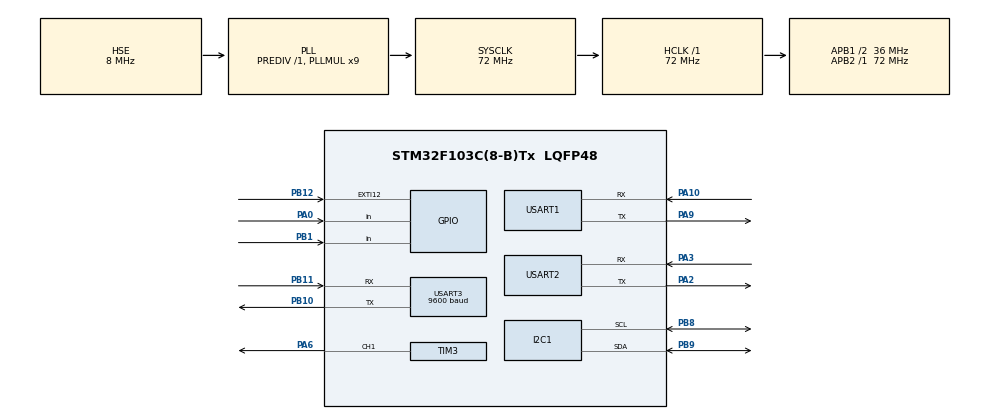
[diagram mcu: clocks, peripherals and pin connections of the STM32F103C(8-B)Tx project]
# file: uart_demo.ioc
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Mcu.Family=STM32F1
Mcu.Name=STM32F103C(8-B)Tx
Mcu.Package=LQFP48
NVIC.EXTI15_10_IRQn=true\:0\:0\:false\:false\:true\:true\:true\:true
NVIC.PriorityGroup=NVIC_PRIORITYGROUP_4
NVIC.TIM2_IRQn=true\:0\:0\:false\:false\:true\:true\:true\:true
NVIC.TIM3_IRQn=true\:0\:0\:false\:false\:true\:true\:true\:true
NVIC.TIM4_IRQn=true\:0\:0\:false\:false\:true\:true\:true\:true
NVIC.USART1_IRQn=true\:0\:0\:false\:false\:true\:true\:true\:true
NVIC.USART2_IRQn=true\:0\:0\:true\:false\:true\:true\:true\:true
PA0-WKUP.GPIO_PuPd=GPIO_PULLUP
PA0-WKUP.Signal=GPIO_Input
PA10.Mode=Asynchronous
PA10.Signal=USART1_RX
PA13.Mode=Serial_Wire
PA13.Signal=SYS_JTMS-SWDIO
PA14.Mode=Serial_Wire
PA14.Signal=SYS_JTCK-SWCLK
PA2.Mode=Asynchronous
PA2.Signal=USART2_TX
PA3.Mode=Asynchronous
PA3.Signal=USART2_RX
PA6.Signal=S_TIM3_CH1
PA9.Mode=Asynchronous
PA9.Signal=USART1_TX
PB1.GPIO_PuPd=GPIO_PULLUP
PB1.Signal=GPIO_Input
PB10.Mode=Asynchronous
PB10.Signal=USART3_TX
PB11.Mode=Asynchronous
PB11.Signal=USART3_RX
PB12.GPIO_ModeDefaultEXTI=GPIO_MODE_IT_RISING
PB12.GPIO_PuPd=GPIO_PULLDOWN
PB12.Signal=GPXTI12
PB8.Mode=I2C
PB8.Signal=I2C1_SCL
PB9.Mode=I2C
PB9.Signal=I2C1_SDA
PD0-OSC_IN.Mode=HSE-External-Oscillator
PD0-OSC_IN.Signal=RCC_OSC_IN
PD1-OSC_OUT.Mode=HSE-External-Oscillator
PD1-OSC_OUT.Signal=RCC_OSC_OUT
ProjectManager.HeapSize=0x200
ProjectManager.StackSize=0x400
ProjectManager.TargetToolchain=MDK-ARM V5.32
RCC.AHBFreq_Value=72000000
RCC.APB1CLKDivider=RCC_HCLK_DIV2
RCC.APB1Freq_Value=36000000
RCC.APB1TimFreq_Value=72000000
RCC.APB2Freq_Value=72000000
RCC.APB2TimFreq_Value=72000000
RCC.HCLKFreq_Value=72000000
RCC.PLLMUL=RCC_PLL_MUL9
RCC.PLLSourceVirtual=RCC_PLLSOURCE_HSE
RCC.SYSCLKFreq_VALUE=72000000
RCC.SYSCLKSource=RCC_SYSCLKSOURCE_PLLCLK
RCC.USBFreq_Value=72000000
SH.S_TIM3_CH1.0=TIM3_CH1,PWM Generation1 CH1
TIM2.AutoReloadPreload=TIM_AUTORELOAD_PRELOAD_DISABLE
TIM2.Period=10 - 1 
TIM2.Prescaler=7200 - 1
TIM3.Channel-PWM\ Generation1\ CH1=TIM_CHANNEL_1
TIM3.Period=20000 - 1
TIM3.Prescaler=72 - 1
TIM4.Prescaler=7200 - 1
USART1.VirtualMode=VM_ASYNC
USART2.VirtualMode=VM_ASYNC
USART3.BaudRate=9600
USART3.VirtualMode=VM_ASYNC
VP_TIM2_VS_ClockSourceINT.Mode=Internal
VP_TIM3_VS_ClockSourceINT.Mode=Internal
VP_TIM4_VS_ClockSourceINT.Mode=Internal
board=custom

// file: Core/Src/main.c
/* USER CODE BEGIN Header */
/**
  ******************************************************************************
  * @file           : main.c
  * @brief          : Main program body
  ******************************************************************************
  * @attention
  *
  * Copyright (c) 2026 STMicroelectronics.
  * All rights reserved.
  *
  * This software is licensed under terms that can be found in the LICENSE file
  * in the root directory of this software component.
  * If no LICENSE file comes with this software, it is provided AS-IS.
  *
  ******************************************************************************
  */
/* USER CODE END Header */
#include "main.h"
#include "i2c.h"
#include "tim.h"
#include "usart.h"
#include "gpio.h"

/* USER CODE BEGIN Includes */
#include <stdio.h>
#include "maix_link.h"
#include "gate.h"
#include "sensor.h"
#include "fsm.h"
#include "parking_db.h"
#include "billing.h"
#include "ssd1306.h"
#include "ui.h"
#include "btn.h"
#include "parking_cloud.h"
/* USER CODE END Includes */

/* USER CODE BEGIN PTD */
volatile uint32_t g_ms = 0; // 1ms的状态机
volatile uint8_t sec_tick = 0; // 1s tick
volatile uint8_t lane_hint = 0; // 0=IN, 1=OUT（由对射触发决定下一次车牌属于哪边）
volatile uint32_t lane_hint_t = 0;
static uint32_t ui_t0 = 0;
/* USER CODE END PTD */

/* USER CODE BEGIN PD */
#define debug 0

maix_plate_event_t e;
gate_cfg_t gate_cfg = {
  .pwm_us_open  = 2000,
  .pwm_us_close = 1000,
  .move_time_ms = 800,
  .invert       = 0
};
sensor_cfg_t scfg = {
  .debounce_ms = 30
};
sensor_event_t ein, eout;
billing_cfg_t bc = {
  .free_s = 0*60,
  .unit_s = 30*60,
  .unit_fee_cents = 100
};
ocr_ctrl_t g_ocr = {
  .in.pending = 0,
  .in.expected_t0 = 0,
  .in.last_req_ms = 0,
  .out.pending = 0,
  .out.expected_t0 = 0,
  .out.last_req_ms = 0,
  .in_latch      = 0,
  .out_latch     = 0,
  .req_timeout_ms = 15000,
  .retry_interval_ms = 4500,  // 建议略大于相机 ARM_WINDOW 4000
};
/* USER CODE END PD */

/* USER CODE BEGIN PM */
uint8_t uart1_rx_byte;
uint8_t uart3_rx_byte;
/* USER CODE END PM */

void SystemClock_Config(void);

/* USER CODE BEGIN 0 */
void debug_printf_time(void)
{
  static uint32_t last = 0;
  if (g_ms - last >= 1000)
  {
      last = g_ms;
      printf("g_ms=%d\r\n", (unsigned long)g_ms);
  }
}

void ui_proc(void)
{
  if (g_ms - ui_t0 >= 200)
  {
      ui_t0 = g_ms;
      ui_tick(g_ms);
  }
}

void sensor(void)
{
  sensor_get_event(SENSOR_IN, &ein);
  if (ein.rising)
  {
    fsm_on_ir_in_blocked(1);
    lane_hint = 0;
    lane_hint_t = g_ms;
  }
  if (ein.falling)
  {
    fsm_on_ir_in_blocked(0);
  }

  sensor_get_event(SENSOR_OUT, &eout);
  if (eout.rising)
  {
    fsm_on_ir_out_blocked(1);
    lane_hint = 1;
    lane_hint_t = g_ms;
  }
  if (eout.falling)
  {
    fsm_on_ir_out_blocked(0);
  }

  // ==== 入口 clear->blocked：触发一次 IN OCR 请求 ====
  if (ein.rising && g_ocr.in_latch == 0)
  {
    g_ocr.in_latch = 1;
    // 只启动IN槽（不影响OUT槽）
    g_ocr.in.pending = 1;
    g_ocr.in.expected_t0 = g_ms;
    maix_link_send_req_ocr(0);
    g_ocr.in.last_req_ms = g_ms;
    g_ocr.in_pending = 1;
    printf("[OCR] REQ IN\r\n");
  }
  if (ein.falling)
  {
    g_ocr.in_latch = 0;
    g_ocr.in_pending = 0;
  }
  // ==== 出口 clear->blocked：触发一次 OUT OCR 请求 ====
  if (eout.rising && g_ocr.out_latch == 0)
  {
    g_ocr.out_latch = 1;
    g_ocr.out.pending  = EXP_OUT;
    g_ocr.out.expected_t0 = g_ms;
    maix_link_send_req_ocr(1); // 1=OUT
    g_ocr.out.last_req_ms = g_ms;
    g_ocr.out_pending = 1;
    printf("[OCR] REQ OUT\r\n");
  }
  if (eout.falling)
  {
    g_ocr.out_latch = 0;
    g_ocr.out_pending = 0;
  }

  // ==== blocked期间“超时重试”：还没拿到结果，就每隔 OCR_RETRY_MS 再发一次 ====
  if (g_ocr.in_latch && g_ocr.in.pending && (g_ms - g_ocr.in.last_req_ms >= g_ocr.retry_interval_ms))
    {
      maix_link_send_req_ocr(0);
      g_ocr.in.last_req_ms = g_ms;
      printf("[OCR] REQ IN (retry)\r\n");
    }

    if (g_ocr.out_latch && g_ocr.out.pending && (g_ms - g_ocr.out.last_req_ms >= g_ocr.retry_interval_ms))
    {
      maix_link_send_req_ocr(1);
      g_ocr.out.last_req_ms = g_ms;
      printf("[OCR] REQ OUT (retry)\r\n");
    }

  // 超时：请求发出后太久没结果，清空 expected_lane
  if (g_ocr.in.pending && (g_ms - g_ocr.in.expected_t0 > g_ocr.req_timeout_ms))
  {
    printf("[OCR] IN timeout\r\n");
    g_ocr.in.pending = 0;
  }

  if (g_ocr.out.pending && (g_ms - g_ocr.out.expected_t0 > g_ocr.req_timeout_ms))
  {
    printf("[OCR] OUT timeout\r\n");
    g_ocr.out.pending = 0;
  }
}

/* USER CODE END 0 */

int main(void)
{

  /* MCU Configuration--------------------------------------------------------*/

  /* Reset of all peripherals, Initializes the Flash interface and the Systick. */
  HAL_Init();

  /* Configure the system clock */
  SystemClock_Config();

  /* Initialize all configured peripherals */
  MX_GPIO_Init();
  MX_USART1_UART_Init();
  MX_TIM2_Init();
  MX_TIM3_Init();
  MX_TIM4_Init();
  MX_USART2_UART_Init();
  MX_I2C1_Init();
  MX_USART3_UART_Init();
  /* USER CODE BEGIN 2 */

  HAL_TIM_PWM_Start(&htim3, TIM_CHANNEL_1);
  HAL_UART_Receive_IT(&huart1, &uart1_rx_byte, 1);
  HAL_UART_Receive_IT(&huart3, &uart3_rx_byte, 1);

  ui_init();
  ssd1306_fill(0);
  // ssd1306_draw_str(0, 0, "HELLO");
  // ssd1306_draw_str(0, 0, "0");
  // ssd1306_draw_str(0, 16, "I2C OK 0x3C");
  // ssd1306_update();
  maix_link_init(&g_ms);
  gate_init(&g_ms, &gate_cfg);
  sensor_init(&g_ms, &scfg);
  db_init();
  billing_set_cfg(&bc);
  fsm_init(&g_ms);
  parking_cloud_init(&g_ms);

  HAL_TIM_Base_Start_IT(&htim2);
  HAL_TIM_Base_Start_IT(&htim4);

  printf("init ok \r\n");
  /* USER CODE END 2 */

  /* Infinite loop */
  while (1)
  {

    /* USER CODE BEGIN 3 */
    maix_link_poll();
    sensor_poll();
    sensor();
    btn_poll();
    if (maix_link_get_plate(&e))
    {
      if (e.lane == 0)  // IN
      {
        if (g_ocr.in.pending)
        {
          fsm_on_plate(e.plate, e.conf, LANE_IN);
          g_ocr.in.pending = 0;
        }
        else
        {
          printf("[OCR] got IN but not pending, drop %s\r\n", e.plate);
        }
      }
      else if (e.lane == 1) // OUT
      {
        if (g_ocr.out.pending)
        {
          fsm_on_plate(e.plate, e.conf, LANE_OUT);
          g_ocr.out.pending = 0;
        }
        else
        {
          printf("[OCR] got OUT but not pending, drop %s\r\n", e.plate);
        }
      }
    }

    fsm_step();
    parking_cloud_poll();
    ui_proc();

    #if debug
    debug_printf_time();
    #endif
  }
  /* USER CODE END 3 */
}

void SystemClock_Config(void)
{
  RCC_OscInitTypeDef RCC_OscInitStruct = {0};
  RCC_ClkInitTypeDef RCC_ClkInitStruct = {0};

  /** Initializes the RCC Oscillators according to the specified parameters
  * in the RCC_OscInitTypeDef structure.
  */
  RCC_OscInitStruct.OscillatorType = RCC_OSCILLATORTYPE_HSE;
  RCC_OscInitStruct.HSEState = RCC_HSE_ON;
  RCC_OscInitStruct.HSEPredivValue = RCC_HSE_PREDIV_DIV1;
  RCC_OscInitStruct.HSIState = RCC_HSI_ON;
  RCC_OscInitStruct.PLL.PLLState = RCC_PLL_ON;
  RCC_OscInitStruct.PLL.PLLSource = RCC_PLLSOURCE_HSE;
  RCC_OscInitStruct.PLL.PLLMUL = RCC_PLL_MUL9;
  if (HAL_RCC_OscConfig(&RCC_OscInitStruct) != HAL_OK)
  {
    Error_Handler();
  }

  /** Initializes the CPU, AHB and APB buses clocks
  */
  RCC_ClkInitStruct.ClockType = RCC_CLOCKTYPE_HCLK|RCC_CLOCKTYPE_SYSCLK
                              |RCC_CLOCKTYPE_PCLK1|RCC_CLOCKTYPE_PCLK2;
  RCC_ClkInitStruct.SYSCLKSource = RCC_SYSCLKSOURCE_PLLCLK;
  RCC_ClkInitStruct.AHBCLKDivider = RCC_SYSCLK_DIV1;
  RCC_ClkInitStruct.APB1CLKDivider = RCC_HCLK_DIV2;
  RCC_ClkInitStruct.APB2CLKDivider = RCC_HCLK_DIV1;

  if (HAL_RCC_ClockConfig(&RCC_ClkInitStruct, FLASH_LATENCY_2) != HAL_OK)
  {
    Error_Handler();
  }
}

/* USER CODE BEGIN 4 */
// 串口回调
void HAL_UART_RxCpltCallback(UART_HandleTypeDef *huart)
{
    if (huart->Instance == USART1)
    {
      maix_link_on_rx_byte(uart1_rx_byte);
      HAL_UART_Receive_IT(&huart1, &uart1_rx_byte, 1);
    }
    else if (huart->Instance == USART3)
    {
      parking_cloud_on_rx_byte(uart3_rx_byte);
      HAL_UART_Receive_IT(&huart3, &uart3_rx_byte, 1);
    }
}
// 定时器回调
void HAL_TIM_PeriodElapsedCallback(TIM_HandleTypeDef *htim)
{
    if (htim->Instance == TIM2) g_ms++;
    if (htim->Instance == TIM4) sec_tick = 1;
}

void HAL_GPIO_EXTI_Callback(uint16_t GPIO_Pin)
{
  btn_handle_exti(GPIO_Pin, g_ms);
}

/* USER CODE END 4 */

void Error_Handler(void)
{
  __disable_irq();
  while (1)
  {
  }
}
